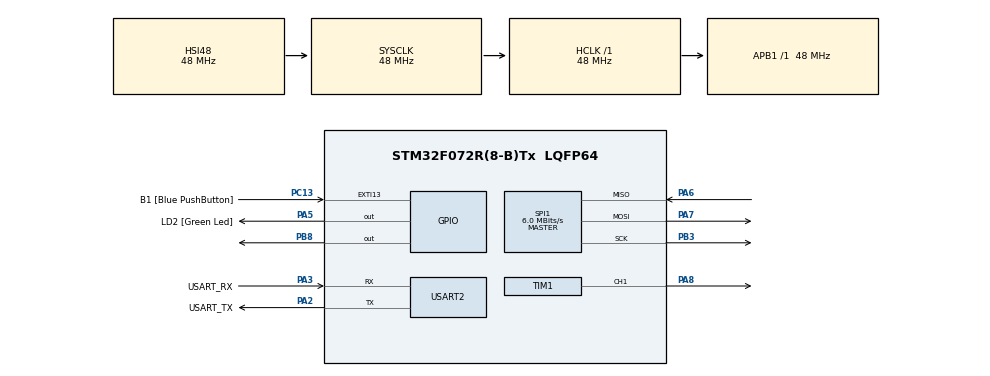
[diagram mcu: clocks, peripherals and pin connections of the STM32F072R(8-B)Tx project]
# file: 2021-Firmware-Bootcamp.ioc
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Mcu.Family=STM32F0
Mcu.Name=STM32F072R(8-B)Tx
Mcu.Package=LQFP64
PA13.GPIO_Label=TMS
PA13.Mode=Serial_Wire
PA13.Signal=SYS_SWDIO
PA14.GPIO_Label=TCK
PA14.Mode=Serial_Wire
PA14.Signal=SYS_SWCLK
PA2.GPIO_Label=USART_TX
PA2.GPIO_Mode=GPIO_MODE_AF_PP
PA2.GPIO_PuPd=GPIO_NOPULL
PA2.GPIO_Speed=GPIO_SPEED_FREQ_LOW
PA2.Mode=Asynchronous
PA2.Signal=USART2_TX
PA3.GPIO_Label=USART_RX
PA3.GPIO_Mode=GPIO_MODE_AF_PP
PA3.GPIO_PuPd=GPIO_NOPULL
PA3.GPIO_Speed=GPIO_SPEED_FREQ_LOW
PA3.Mode=Asynchronous
PA3.Signal=USART2_RX
PA5.GPIO_Label=LD2 [Green Led]
PA5.GPIO_Mode=GPIO_MODE_OUTPUT_PP
PA5.GPIO_PuPd=GPIO_NOPULL
PA5.GPIO_Speed=GPIO_SPEED_FREQ_LOW
PA5.Signal=GPIO_Output
PA6.Mode=Full_Duplex_Master
PA6.Signal=SPI1_MISO
PA7.Mode=Full_Duplex_Master
PA7.Signal=SPI1_MOSI
PA8.Signal=S_TIM1_CH1
PB3.Mode=Full_Duplex_Master
PB3.Signal=SPI1_SCK
PB8.Signal=GPIO_Output
PC13.GPIO_Label=B1 [Blue PushButton]
PC13.GPIO_ModeDefaultEXTI=GPIO_MODE_IT_FALLING
PC13.Signal=GPXTI13
PC14-OSC32_IN.Mode=LSE-External-Oscillator
PC14-OSC32_IN.Signal=RCC_OSC32_IN
PC15-OSC32_OUT.Mode=LSE-External-Oscillator
PC15-OSC32_OUT.Signal=RCC_OSC32_OUT
PF0-OSC_IN.Mode=HSE-External-Clock-Source
PF0-OSC_IN.Signal=RCC_OSC_IN
PF1-OSC_OUT.Signal=RCC_OSC_OUT
ProjectManager.HeapSize=0x200
ProjectManager.StackSize=0x400
ProjectManager.TargetToolchain=STM32CubeIDE
RCC.AHBFreq_Value=48000000
RCC.APB1Freq_Value=48000000
RCC.APB1TimFreq_Value=48000000
RCC.FLatency-AdvancedSettings=FLASH_LATENCY_1
RCC.HCLKFreq_Value=48000000
RCC.PLLDivider=RCC_PREDIV_DIV2
RCC.PLLMUL=RCC_PLL_MUL12
RCC.PREFETCH_ENABLE-AdvancedSettings=1
RCC.SYSCLKFreq_VALUE=48000000
RCC.SYSCLKSource=RCC_SYSCLKSOURCE_HSI48
SH.S_TIM1_CH1.0=TIM1_CH1,PWM Generation1 CH1
SPI1.BaudRatePrescaler=SPI_BAUDRATEPRESCALER_8
SPI1.CLKPolarity=SPI_POLARITY_LOW
SPI1.CalculateBaudRate=6.0 MBits/s
SPI1.DataSize=SPI_DATASIZE_8BIT
SPI1.Direction=SPI_DIRECTION_2LINES
SPI1.FirstBit=SPI_FIRSTBIT_MSB
SPI1.Mode=SPI_MODE_MASTER
SPI1.VirtualType=VM_MASTER
TIM1.Channel-PWM\ Generation1\ CH1=TIM_CHANNEL_1
TIM1.Period=40000
TIM1.Prescaler=23
USART2.VirtualMode=VM_ASYNC
USART2.VirtualMode-Asynchronous=VM_ASYNC
VP_TIM1_VS_ClockSourceINT.Mode=Internal
board=NUCLEO-F072RB

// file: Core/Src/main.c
/* USER CODE BEGIN Header */
/**
  ******************************************************************************
  * @file           : main.c
  * @brief          : Main program body
  ******************************************************************************
  * @attention
  *
  * <h2><center>&copy; Copyright (c) 2021 STMicroelectronics.
  * All rights reserved.</center></h2>
  *
  * This software component is licensed by ST under BSD 3-Clause license,
  * the "License"; You may not use this file except in compliance with the
  * License. You may obtain a copy of the License at:
  *                        opensource.org/licenses/BSD-3-Clause
  *
  ******************************************************************************
  */
/* USER CODE END Header */
#include "main.h"
#include "spi.h"
#include "tim.h"
#include "usart.h"
#include "gpio.h"

void SystemClock_Config(void);
/* USER CODE BEGIN PFP */

//me
uint16_t calculateDutyCycle(uint16_t adcValue);

/* USER CODE END PFP */

/* USER CODE BEGIN 0 */

//all me
uint16_t adcValue = 0;  // Store ADC value
uint16_t onCounts = 0;  // Number of "on counts" for PWM
const int ADC_MAX_VALUE = 1024;
uint8_t dataIn[3] = {0};
uint8_t dataOut[3] = {0b00000001, 0b10000000, 0b00000000};

/* USER CODE END 0 */

int main(void)
{

  /* MCU Configuration--------------------------------------------------------*/

  /* Reset of all peripherals, Initializes the Flash interface and the Systick. */
  HAL_Init();

  /* Configure the system clock */
  SystemClock_Config();

  /* Initialize all configured peripherals */
  MX_GPIO_Init();
  MX_USART2_UART_Init();
  MX_SPI1_Init();
  MX_TIM1_Init();
  /* USER CODE BEGIN 2 */
  HAL_TIM_PWM_Start(&htim1, TIM_CHANNEL_1);

  /* USER CODE END 2 */

  /* Infinite loop */
  /* USER CODE BEGIN WHILE */

  while (1)
  {
    HAL_GPIO_WritePin(GPIOA, GPIO_PIN_8, GPIO_PIN_SET);
    HAL_Delay(10);

    //READ AND TRANSMIT DATA
    //PUT CS LOW - Activate
    HAL_GPIO_WritePin(GPIOA, GPIO_PIN_8, GPIO_PIN_RESET);
    HAL_Delay(10);

    //TRANSMIT AND RECIEVE
    spiData[0] = 0x00;
    spiData[1] = 0x00;
    HAL_SPI_TransmitReceive(&hspi1, dataOut , dataIn, 3, 10);

    //DEACTIVICATE
    HAL_GPIO_WritePin(GPIOA, GPIO_PIN_8, GPIO_PIN_SET);

    // Convert ADC value to PWM counts

    adcValue = ((dataIn[1] & 0b11) << 8) + dataIn[2];

    uint16_t scaledDutyCycle = ((adcValue * (10 - 5)) / ADC_MAX_VALUE) + 5;
    uint32_t TIM_Period = (SYSTEM_CLOCK / PWM_FREQUENCY) - 1;
    onCounts = (scaledDutyCycle * TIM_PERIOD) / 100;

    // Update the compare register to set the duty cycle
    __HAL_TIM_SET_COMPARE(&htim1, TIM_CHANNEL_1, onCounts);

    // Delay to avoid overloading the ADC
    HAL_Delay(10);

    /* USER CODE END WHILE */

  }
}

void SystemClock_Config(void)
{
  RCC_OscInitTypeDef RCC_OscInitStruct = {0};
  RCC_ClkInitTypeDef RCC_ClkInitStruct = {0};
  RCC_PeriphCLKInitTypeDef PeriphClkInit = {0};

  /** Initializes the RCC Oscillators according to the specified parameters
  * in the RCC_OscInitTypeDef structure.
  */
  RCC_OscInitStruct.OscillatorType = RCC_OSCILLATORTYPE_HSI48;
  RCC_OscInitStruct.HSI48State = RCC_HSI48_ON;
  RCC_OscInitStruct.PLL.PLLState = RCC_PLL_NONE;
  if (HAL_RCC_OscConfig(&RCC_OscInitStruct) != HAL_OK)
  {
    Error_Handler();
  }

  /** Initializes the CPU, AHB and APB buses clocks
  */
  RCC_ClkInitStruct.ClockType = RCC_CLOCKTYPE_HCLK|RCC_CLOCKTYPE_SYSCLK
                              |RCC_CLOCKTYPE_PCLK1;
  RCC_ClkInitStruct.SYSCLKSource = RCC_SYSCLKSOURCE_HSI48;
  RCC_ClkInitStruct.AHBCLKDivider = RCC_SYSCLK_DIV1;
  RCC_ClkInitStruct.APB1CLKDivider = RCC_HCLK_DIV1;

  if (HAL_RCC_ClockConfig(&RCC_ClkInitStruct, FLASH_LATENCY_1) != HAL_OK)
  {
    Error_Handler();
  }
  PeriphClkInit.PeriphClockSelection = RCC_PERIPHCLK_USART2;
  PeriphClkInit.Usart2ClockSelection = RCC_USART2CLKSOURCE_PCLK1;
  if (HAL_RCCEx_PeriphCLKConfig(&PeriphClkInit) != HAL_OK)
  {
    Error_Handler();
  }
}

/* USER CODE BEGIN 4 */

// Configure PWM

/* USER CODE END 4 */

void Error_Handler(void)
{
  __disable_irq();
  while (1)
  {
  }
}
